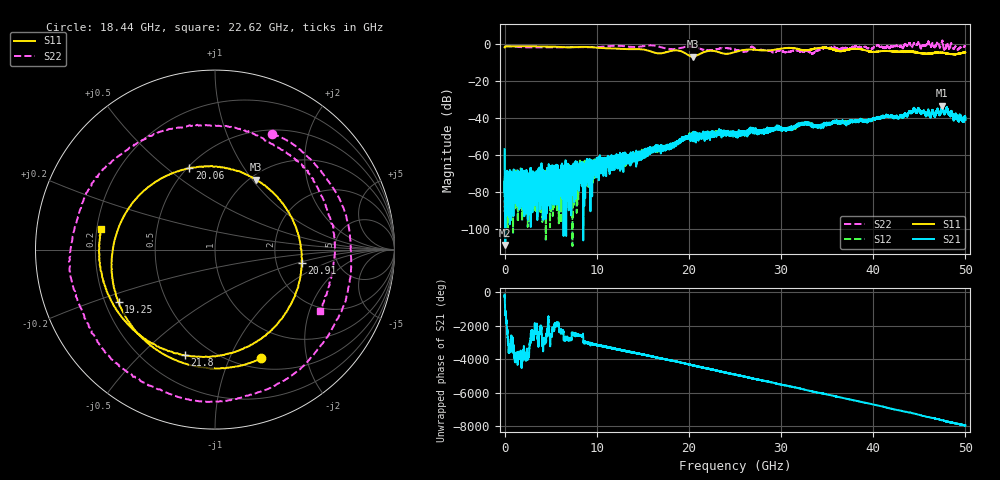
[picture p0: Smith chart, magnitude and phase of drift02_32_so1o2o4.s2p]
!Created with skrf (http://scikit-rf.org).
# Hz S RI R 50.0
!freq ReS11 ImS11 ReS21 ImS21 ReS12 ImS12 ReS22 ImS22
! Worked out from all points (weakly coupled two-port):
!   10001 points, 300 kHz to 50 GHz, reference 50 ohm
!   highest |S21| = -33.38 dB at 47.48 GHz (marker M1); lowest = -108.7 dB at 80.3 MHz (marker M2)
!   lowest |S11| = -6.9 dB at 20.4 GHz (marker M3), VSWR 2.64, Z = 53 + j51.9 ohm
!   |S11| at or under -10 dB: nowhere
!   |S22| runs from -5.3 to 1.8 dB; largest |S21 - S12| = 0.0033
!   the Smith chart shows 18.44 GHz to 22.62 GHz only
!   S11 on the Smith chart (normalised r, x): 18.44 GHz: 0.62, -1.32; 19.25 GHz: 0.26, -0.24; 20.06 GHz: 0.51, +0.60; 20.91 GHz: 2.80, -0.54; 21.8 GHz: 0.37, -0.69; 22.62 GHz: 0.22, +0.08
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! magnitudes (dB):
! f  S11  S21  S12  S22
! 300 kHz  -2.0  -56.9  -73.3  -1.3
! 80.3 MHz  -1.5  -108.7  -75.0  -1.4
! 260.3 MHz  -1.4  -75.3  -76.0  -1.4
! 685.3 MHz  -1.5  -69.0  -77.2  -1.4
! 4.905 GHz  -1.6  -74.4  -71.9  -2.0
! 8.335 GHz  -1.7  -66.8  -67.4  -1.9
! 16.67 GHz  -5.2  -55.3  -56.2  -1.5
! 18.44 GHz  -3.6  -54.1  -54.7  -2.9
! 19.25 GHz  -4.3  -51.5  -51.8  -2.1
! 20.06 GHz  -6.5  -50.5  -50.7  -1.5
! 20.4 GHz  -6.9  -49.2  -50.2  -1.7
! 20.91 GHz  -6.2  -49.1  -49.0  -2.2
! 21.8 GHz  -4.3  -49.0  -49.4  -3.5
! 22.62 GHz  -3.8  -49.2  -47.7  -3.4
! 25 GHz  -4.5  -48.1  -48.7  -3.3
! 26.11 GHz  -3.3  -47.6  -48.3  -4.3
! 26.9 GHz  -3.2  -45.4  -46.3  -1.7
! 33.34 GHz  -3.0  -43.9  -44.0  -5.2
! 34.89 GHz  -2.1  -43.0  -43.6  -2.2
! 41.67 GHz  -4.0  -39.4  -39.2  -2.1
! 47.48 GHz  -4.9  -33.4  -34.4  1.3
! 50 GHz  -4.7  -41.3  -40.1  -1.5
